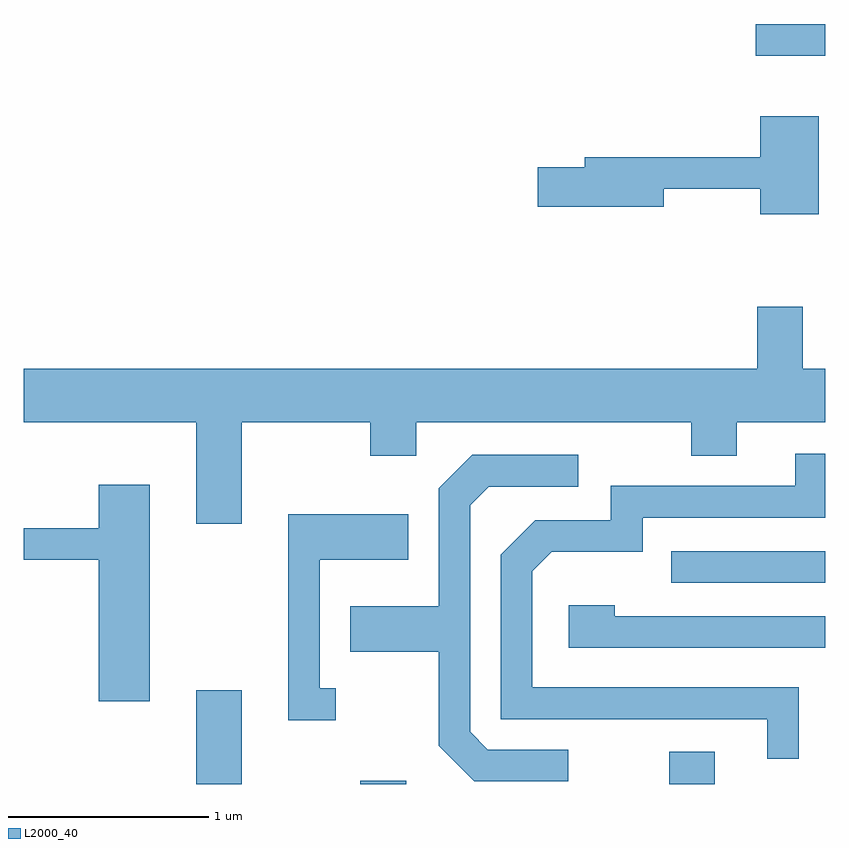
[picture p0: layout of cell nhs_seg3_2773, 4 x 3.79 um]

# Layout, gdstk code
import gdstk
lib = gdstk.Library(unit=1e-6, precision=1e-09)
def R(c, l, rs):  # rectangles x0, y0, x1, y1
    for r in rs: c.add(gdstk.rectangle(r[:2], r[2:], *l))
def P(c, l, *ps):  # polygons
    for p in ps: c.add(gdstk.Polygon(p, *l))
L2000_40 = (2000, 40)

nhs_seg3_2773 = lib.new_cell('nhs_seg3_2773')
R(nhs_seg3_2773, L2000_40, [(266.471,1221.892,266.699,1222.359), (267.291,1221.892,267.519,1221.909), (268.831,1221.892,269.059,1222.054), (268.843,1222.896,269.611,1223.054), (269.263,1225.526,269.611,1225.684)])
P(nhs_seg3_2773, L2000_40, [(269.579,1225.224),(269.286,1225.224),(269.286,1225.019),(268.411,1225.019),(268.411,1224.969),(268.176,1224.969),(268.176,1224.771),(268.804,1224.771),(268.804,1224.861),(269.286,1224.861),(269.286,1224.736),(269.579,1224.736)],
  [(266.699,1223.696),(267.341,1223.696),(267.341,1223.531),(267.569,1223.531),(267.569,1223.696),(268.941,1223.696),(268.941,1223.531),(269.169,1223.531),(269.169,1223.696),(269.611,1223.696),(269.611,1223.964),(269.499,1223.964),(269.499,1224.274),(269.271,1224.274),(269.271,1223.964),(265.611,1223.964),(265.611,1223.696),(266.471,1223.696),(266.471,1223.191),(266.699,1223.191)],
  [(269.479,1222.374),(268.149,1222.374),(268.149,1222.954),(268.247,1223.051),(268.699,1223.051),(268.699,1223.221),(269.611,1223.221),(269.611,1223.539),(269.461,1223.539),(269.461,1223.379),(268.541,1223.379),(268.541,1223.209),(268.164,1223.209),(267.991,1223.037),(267.991,1222.216),(269.321,1222.216),(269.321,1222.018),(269.479,1222.018)],
  [(268.328,1222.064),(267.927,1222.064),(267.839,1222.152),(267.839,1223.284),(267.932,1223.376),(268.378,1223.376),(268.378,1223.534),(267.849,1223.534),(267.681,1223.367),(267.681,1222.779),(267.241,1222.779),(267.241,1222.551),(267.681,1222.551),(267.681,1222.084),(267.859,1221.906),(268.328,1221.906)],
  [(266.239,1223.384),(265.986,1223.384),(265.986,1223.169),(265.611,1223.169),(265.611,1223.011),(265.986,1223.011),(265.986,1222.306),(266.239,1222.306)],
  [(267.168,1222.369),(267.089,1222.369),(267.089,1223.011),(267.529,1223.011),(267.529,1223.239),(266.931,1223.239),(266.931,1222.211),(267.168,1222.211)],
  [(269.611,1222.729),(268.559,1222.729),(268.559,1222.784),(268.331,1222.784),(268.331,1222.571),(269.611,1222.571)])

lib.write_gds('nhs_seg3_2773.gds')
